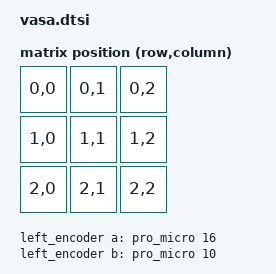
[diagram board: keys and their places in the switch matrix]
#include <dt-bindings/zmk/matrix_transform.h>

/ {
    chosen {
        zmk,kscan = &kscan0;
        zmk,matrix-transform = &default_transform;
    };


    default_transform: keymap_transform_0 {
        compatible = "zmk,matrix-transform";
        columns = <3>;
        rows = <3>;

        map = <
        RC(0,0) RC(0,1) RC(0,2) 
        RC(1,0) RC(1,1) RC(1,2) 
        RC(2,0) RC(2,1) RC(2,2) 
    
        >;
    };


    kscan0: kscan_0 {
        compatible = "zmk,kscan-gpio-matrix";
        wakeup-source;

        diode-direction = "col2row";
    };

        left_encoder: encoder_left {
            compatible = "alps,ec11";
            a-gpios = <&pro_micro 16 (GPIO_ACTIVE_HIGH | GPIO_PULL_UP)>;
            b-gpios = <&pro_micro 10 (GPIO_ACTIVE_HIGH | GPIO_PULL_UP)>;
            steps = <80>;
            status = "disabled";
    };

        sensors: sensors {
        compatible = "zmk,keymap-sensors";
        sensors = <&left_encoder>;
        triggers-per-rotation = <20>;
    };


};

